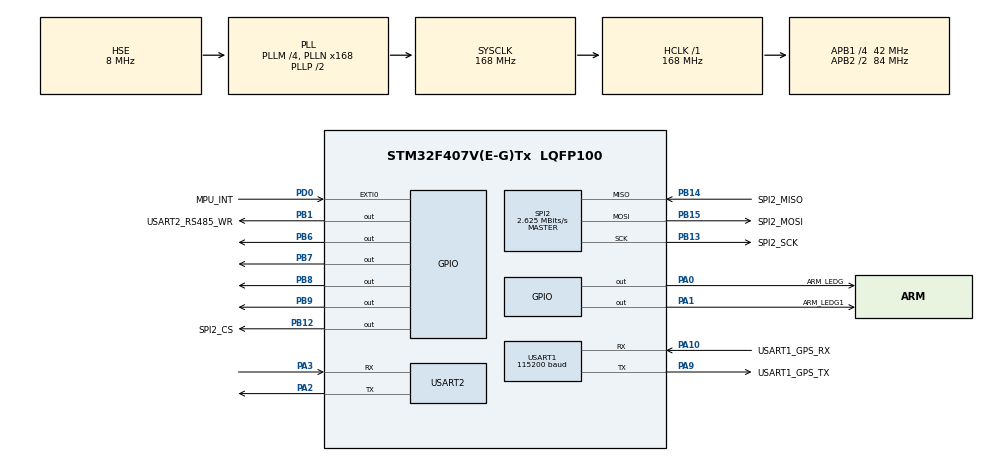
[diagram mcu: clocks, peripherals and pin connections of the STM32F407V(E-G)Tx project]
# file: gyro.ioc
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Mcu.Family=STM32F4
Mcu.Name=STM32F407V(E-G)Tx
Mcu.Package=LQFP100
NVIC.EXTI0_IRQn=true\:0\:0\:false\:false\:true\:true
NVIC.PriorityGroup=NVIC_PRIORITYGROUP_4
NVIC.USART1_IRQn=true\:0\:0\:false\:false\:true\:true
NVIC.USART2_IRQn=true\:0\:0\:false\:false\:true\:true
PA0-WKUP.GPIO_Label=ARM_LEDG
PA0-WKUP.GPIO_PuPd=GPIO_PULLUP
PA0-WKUP.GPIO_Speed=GPIO_SPEED_FREQ_VERY_HIGH
PA0-WKUP.PinState=GPIO_PIN_SET
PA0-WKUP.Signal=GPIO_Output
PA1.GPIO_Label=ARM_LEDG1
PA1.GPIO_PuPd=GPIO_PULLUP
PA1.GPIO_Speed=GPIO_SPEED_FREQ_HIGH
PA1.PinState=GPIO_PIN_SET
PA1.Signal=GPIO_Output
PA10.GPIO_Label=USART1_GPS_RX
PA10.Mode=Asynchronous
PA10.Signal=USART1_RX
PA2.Mode=Asynchronous
PA2.Signal=USART2_TX
PA3.Mode=Asynchronous
PA3.Signal=USART2_RX
PA9.GPIO_Label=USART1_GPS_TX
PA9.Mode=Asynchronous
PA9.Signal=USART1_TX
PB1.GPIO_Label=USART2_RS485_WR
PB1.GPIO_PuPd=GPIO_PULLUP
PB1.GPIO_Speed=GPIO_SPEED_FREQ_VERY_HIGH
PB1.PinState=GPIO_PIN_SET
PB1.Signal=GPIO_Output
PB12.GPIO_Label=SPI2_CS
PB12.GPIO_PuPd=GPIO_PULLUP
PB12.GPIO_Speed=GPIO_SPEED_FREQ_VERY_HIGH
PB12.PinState=GPIO_PIN_SET
PB12.Signal=GPIO_Output
PB13.GPIO_Label=SPI2_SCK
PB13.Mode=Full_Duplex_Master
PB13.Signal=SPI2_SCK
PB14.GPIO_Label=SPI2_MISO
PB14.Mode=Full_Duplex_Master
PB14.Signal=SPI2_MISO
PB15.GPIO_Label=SPI2_MOSI
PB15.Mode=Full_Duplex_Master
PB15.Signal=SPI2_MOSI
PB6.GPIO_PuPd=GPIO_PULLUP
PB6.GPIO_Speed=GPIO_SPEED_FREQ_MEDIUM
PB6.PinState=GPIO_PIN_SET
PB6.Signal=GPIO_Output
PB7.GPIO_PuPd=GPIO_PULLUP
PB7.GPIO_Speed=GPIO_SPEED_FREQ_MEDIUM
PB7.PinState=GPIO_PIN_SET
PB7.Signal=GPIO_Output
PB8.GPIO_PuPd=GPIO_PULLUP
PB8.GPIO_Speed=GPIO_SPEED_FREQ_MEDIUM
PB8.PinState=GPIO_PIN_SET
PB8.Signal=GPIO_Output
PB9.GPIO_PuPd=GPIO_PULLUP
PB9.GPIO_Speed=GPIO_SPEED_FREQ_MEDIUM
PB9.PinState=GPIO_PIN_SET
PB9.Signal=GPIO_Output
PD0.GPIO_Label=MPU_INT
PD0.GPIO_ModeDefaultEXTI=GPIO_MODE_IT_RISING
PD0.GPIO_PuPd=GPIO_NOPULL
PD0.Signal=GPXTI0
PH0-OSC_IN.Mode=HSE-External-Oscillator
PH0-OSC_IN.Signal=RCC_OSC_IN
PH1-OSC_OUT.Mode=HSE-External-Oscillator
PH1-OSC_OUT.Signal=RCC_OSC_OUT
ProjectManager.HeapSize=0x200
ProjectManager.StackSize=0x400
ProjectManager.TargetToolchain=MDK-ARM V5
RCC.48MHZClocksFreq_Value=84000000
RCC.AHBFreq_Value=168000000
RCC.APB1CLKDivider=RCC_HCLK_DIV4
RCC.APB1Freq_Value=42000000
RCC.APB1TimFreq_Value=84000000
RCC.APB2CLKDivider=RCC_HCLK_DIV2
RCC.APB2Freq_Value=84000000
RCC.APB2TimFreq_Value=168000000
RCC.CortexFreq_Value=168000000
RCC.HCLKFreq_Value=168000000
RCC.HSE_VALUE=8000000
RCC.HSI_VALUE=16000000
RCC.LSE_VALUE=32768
RCC.PLLM=4
RCC.PLLN=168
RCC.PLLSourceVirtual=RCC_PLLSOURCE_HSE
RCC.SYSCLKFreq_VALUE=168000000
RCC.SYSCLKSource=RCC_SYSCLKSOURCE_PLLCLK
RCC.VCOOutputFreq_Value=336000000
SPI2.BaudRatePrescaler=SPI_BAUDRATEPRESCALER_16
SPI2.CLKPhase=SPI_PHASE_2EDGE
SPI2.CLKPolarity=SPI_POLARITY_HIGH
SPI2.CalculateBaudRate=2.625 MBits/s
SPI2.Direction=SPI_DIRECTION_2LINES
SPI2.Mode=SPI_MODE_MASTER
SPI2.VirtualType=VM_MASTER
USART1.BaudRate=115200
USART1.VirtualMode=VM_ASYNC
USART2.VirtualMode=VM_ASYNC
board=gyro

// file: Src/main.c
/**
  ******************************************************************************
  * @file           : main.c
  * @brief          : Main program body
  ******************************************************************************
  ** This notice applies to any and all portions of this file
  * that are not between comment pairs USER CODE BEGIN and
  * USER CODE END. Other portions of this file, whether
  * inserted by the user or by software development tools
  * are owned by their respective copyright owners.
  *
  * COPYRIGHT(c) 2019 STMicroelectronics
  *
  * Redistribution and use in source and binary forms, with or without modification,
  * are permitted provided that the following conditions are met:
  *   1. Redistributions of source code must retain the above copyright notice,
  *      this list of conditions and the following disclaimer.
  *   2. Redistributions in binary form must reproduce the above copyright notice,
  *      this list of conditions and the following disclaimer in the documentation
  *      and/or other materials provided with the distribution.
  *   3. Neither the name of STMicroelectronics nor the names of its contributors
  *      may be used to endorse or promote products derived from this software
  *      without specific prior written permission.
  *
  * THIS SOFTWARE IS PROVIDED BY THE COPYRIGHT HOLDERS AND CONTRIBUTORS "AS IS"
  * AND ANY EXPRESS OR IMPLIED WARRANTIES, INCLUDING, BUT NOT LIMITED TO, THE
  * IMPLIED WARRANTIES OF MERCHANTABILITY AND FITNESS FOR A PARTICULAR PURPOSE ARE
  * DISCLAIMED. IN NO EVENT SHALL THE COPYRIGHT HOLDER OR CONTRIBUTORS BE LIABLE
  * FOR ANY DIRECT, INDIRECT, INCIDENTAL, SPECIAL, EXEMPLARY, OR CONSEQUENTIAL
  * DAMAGES (INCLUDING, BUT NOT LIMITED TO, PROCUREMENT OF SUBSTITUTE GOODS OR
  * SERVICES; LOSS OF USE, DATA, OR PROFITS; OR BUSINESS INTERRUPTION) HOWEVER
  * CAUSED AND ON ANY THEORY OF LIABILITY, WHETHER IN CONTRACT, STRICT LIABILITY,
  * OR TORT (INCLUDING NEGLIGENCE OR OTHERWISE) ARISING IN ANY WAY OUT OF THE USE
  * OF THIS SOFTWARE, EVEN IF ADVISED OF THE POSSIBILITY OF SUCH DAMAGE.
  *
  ******************************************************************************
  */
#include "main.h"
#include "stm32f4xx_hal.h"
#include "spi.h"
#include "usart.h"
#include "gpio.h"

/* USER CODE BEGIN Includes */
#include <math.h>
#include "mpuxxxx.h"
#include "debug.h"
#include "eMPL_outputs.h"
#include "packet.h"
#include "hmc5843.h"
#include "MahonyAHRS.h"
#include "GPS.h"
#include "iic.h"
/* USER CODE END Includes */

/* USER CODE BEGIN PV */
/* Private variables ---------------------------------------------------------*/

/* USER CODE END PV */

void SystemClock_Config(void);

/* USER CODE BEGIN PFP */
/* Private function prototypes -----------------------------------------------*/

/* USER CODE END PFP */

/* USER CODE BEGIN 0 */
unsigned char *mpl_key = (unsigned char*)"eMPL 5.1";
short sensors;
EulerAngle euler;
/* Quaternion quat; */
Acceleration accel;
long mpl_data[9];
int8_t accuracy;
unsigned long timestamp;
CompassGaussData comp;
float compass_angle;
int result = 0;
/* USER CODE END 0 */

int main(void)
{

  /* MCU Configuration----------------------------------------------------------*/

  /* Reset of all peripherals, Initializes the Flash interface and the Systick. */
  HAL_Init();

  /* Configure the system clock */
  SystemClock_Config();

  /* Initialize all configured peripherals */
  MX_GPIO_Init();
  MX_USART2_UART_Init();
  MX_USART1_UART_Init();
  MX_SPI2_Init();
  /* USER CODE BEGIN 2 */

  Mahony_Init(100);
  GPS_init();
  __HAL_UART_ENABLE_IT(&huart1, UART_IT_RXNE);

//  while((result = hmc5843_init()) != 0)
//  {
//	  log_i("HMC5840 initialize failed: %d...!\r\n", result);
//	  HAL_Delay(100);
//  }

  while((result = mpuxxxx_mpu_dmp_init()) != 0)
  {
    log_i("MPU6050 dmp initialize failed: %d... \r\n", result);
    HAL_Delay(100);
  }

  while((result = mpuxxxx_mpl_init()) != 0)
  {
    log_i("MPU6515 mpl initialize failed: %d... \r\n", result);
    HAL_Delay(1000);
  }

  /* USER CODE END 2 */

  /* Infinite loop */
  while (1)
  {

  /* USER CODE BEGIN 3 */
    HAL_GPIO_TogglePin(ARM_LEDG_GPIO_Port, ARM_LEDG_Pin);

	GPS_poll(); //GPS 数据分析

#if 0
	Gyroscope gyro;
	Acceleration accel;
	CompassGaussData comp;
	static Gyroscope s_gyro;
	static Acceleration s_accel;
	static CompassGaussData s_comp;
	short sensors;

	//由于调用初始化函数Mahony_Init(100)时设置了数据融合的频率为100Hz
	//所以Mahony_update()函数的调用频率也必须为100Hz，否则对陀螺仪角速
	//度的积分时间将会不准确，从而导致大的积分误差。
	HAL_Delay(7); //IIC读取数据需要大量时间，所以延时7ms而不是10ms。

	result = mpuxxxx_dmp_get_scale_data(&gyro, &accel, &sensors);
	if((result == 0) && (sensors & INV_XYZ_GYRO))
		memcpy(&s_gyro, &gyro, sizeof(gyro));
	if((result == 0) && (sensors & INV_XYZ_ACCEL))
		memcpy(&s_accel, &accel, sizeof(accel));
	result = hmc5843_get_data(NULL, &comp);
	if(result == 0)
		memcpy(&s_comp, &comp, sizeof(comp));
	Mahony_update(s_gyro.x, s_gyro.y, s_gyro.z, s_accel.x, s_accel.y, s_accel.z, s_comp.x, s_comp.y, s_comp.z);
	Mahony_computeAngles();
	euler.pitch = getPitch();
	euler.roll = getRoll();
	euler.yaw = getYaw();

	hmc5843_get_direction(&compass_angle, euler.pitch, euler.roll);
#endif

#if 1
	const float q30 = (float)(1<<30), q16 = (float)(1<<16);

	HAL_Delay(10);

	mpuxxxx_mpl_poll();
  mpuxxxx_mpl_get_euler(&euler);
  log_i("mpl euler pitch:%f roll:%f yaw:%f\r\n", euler.pitch, euler.roll, euler.yaw);

	if(inv_get_sensor_type_euler(mpl_data, &accuracy, (inv_time_t *)&timestamp) == 1)
	{
		euler.pitch = mpl_data[0]/q16;
		euler.roll = mpl_data[1]/q16;
		euler.yaw = mpl_data[2]/q16;
		log_i("mpl euler pitch:%f roll:%f yaw:%f\r\n", euler.pitch, euler.roll, euler.yaw);
	}
	if(inv_get_sensor_type_quat(mpl_data, &accuracy, (inv_time_t *)&timestamp) == 1)
	{
		//q30格式转换为浮点数
		float q0 = mpl_data[0] / q30;
		float q1 = mpl_data[1] / q30;
		float q2 = mpl_data[2] / q30;
		float q3 = mpl_data[3] / q30;
		//计算得到俯仰角/横滚角/航向角
		euler.pitch = asin(-2 * q1 * q3 + 2 * q0* q2)* 57.3;									// pitch
		euler.roll  = atan2(2 * q2 * q3 + 2 * q0 * q1, -2 * q1 * q1 - 2 * q2* q2 + 1)* 57.3;	// roll
		euler.yaw   = atan2(2*(q1*q2 + q0*q3),q0*q0+q1*q1-q2*q2-q3*q3) * 57.3;					//yaw
		log_i("mpl euler pitch:%f roll:%f yaw:%f\r\n", euler.pitch, euler.roll, euler.yaw);
		log_i("mpl quat: %f %f %f %f\r\n", mpl_data[0]/q30, mpl_data[1]/q30, mpl_data[2]/q30, mpl_data[3]/q30);

		eMPL_send_quat(mpl_data);
	}
	if(inv_get_sensor_type_gyro(mpl_data, &accuracy, (inv_time_t*)&timestamp) == 1)
	{
		log_i("mpl gyro: %f %f %f\r\n", mpl_data[0]/q16, mpl_data[1]/q16, mpl_data[2]/q16);
	}
	if(inv_get_sensor_type_accel(mpl_data, &accuracy, (inv_time_t*)&timestamp) == 1)
	{
		accel.x = mpl_data[0] / q16;
		accel.y = mpl_data[1] / q16;
		accel.z = mpl_data[2] / q16;
		log_i("mpl accel: %f %f %f\r\n", mpl_data[0]/q16, mpl_data[1]/q16, mpl_data[2]/q16);
	}
#endif
  }
  /* USER CODE END 3 */

}

void SystemClock_Config(void)
{

  RCC_OscInitTypeDef RCC_OscInitStruct;
  RCC_ClkInitTypeDef RCC_ClkInitStruct;

    /**Configure the main internal regulator output voltage
    */
  __HAL_RCC_PWR_CLK_ENABLE();

  __HAL_PWR_VOLTAGESCALING_CONFIG(PWR_REGULATOR_VOLTAGE_SCALE1);

    /**Initializes the CPU, AHB and APB busses clocks
    */
  RCC_OscInitStruct.OscillatorType = RCC_OSCILLATORTYPE_HSE;
  RCC_OscInitStruct.HSEState = RCC_HSE_ON;
  RCC_OscInitStruct.PLL.PLLState = RCC_PLL_ON;
  RCC_OscInitStruct.PLL.PLLSource = RCC_PLLSOURCE_HSE;
  RCC_OscInitStruct.PLL.PLLM = 4;
  RCC_OscInitStruct.PLL.PLLN = 168;
  RCC_OscInitStruct.PLL.PLLP = RCC_PLLP_DIV2;
  RCC_OscInitStruct.PLL.PLLQ = 4;
  if (HAL_RCC_OscConfig(&RCC_OscInitStruct) != HAL_OK)
  {
    _Error_Handler(__FILE__, __LINE__);
  }

    /**Initializes the CPU, AHB and APB busses clocks
    */
  RCC_ClkInitStruct.ClockType = RCC_CLOCKTYPE_HCLK|RCC_CLOCKTYPE_SYSCLK
                              |RCC_CLOCKTYPE_PCLK1|RCC_CLOCKTYPE_PCLK2;
  RCC_ClkInitStruct.SYSCLKSource = RCC_SYSCLKSOURCE_PLLCLK;
  RCC_ClkInitStruct.AHBCLKDivider = RCC_SYSCLK_DIV1;
  RCC_ClkInitStruct.APB1CLKDivider = RCC_HCLK_DIV4;
  RCC_ClkInitStruct.APB2CLKDivider = RCC_HCLK_DIV2;

  if (HAL_RCC_ClockConfig(&RCC_ClkInitStruct, FLASH_LATENCY_5) != HAL_OK)
  {
    _Error_Handler(__FILE__, __LINE__);
  }

    /**Configure the Systick interrupt time
    */
  HAL_SYSTICK_Config(HAL_RCC_GetHCLKFreq()/1000);

    /**Configure the Systick
    */
  HAL_SYSTICK_CLKSourceConfig(SYSTICK_CLKSOURCE_HCLK);

  /* SysTick_IRQn interrupt configuration */
  HAL_NVIC_SetPriority(SysTick_IRQn, 0, 0);
}

void _Error_Handler(char *file, int line)
{
  while(1)
  {
  }
}

/************************ (C) COPYRIGHT STMicroelectronics *****END OF FILE****/
